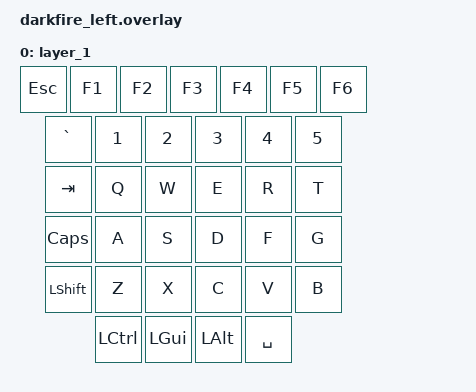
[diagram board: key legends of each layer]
#include "darkfire.dtsi"

/ {
    keymap {
        compatible = "zmk,keymap";

        layer_1 {
            bindings = <
         // 0     0,0      0, 1    0,2       0,3    0, 4     0,5    0,6 
                &kp ESCAPE  &kp F1  &kp F2  &kp F3  &kp F4  &kp F5  &kp F6
                //  1,0          1       2      3      4       5 
                &kp GRAVE  &kp N1  &kp N2  &kp N3  &kp N4  &kp N5
                //  2,0        1      2   3    4        5 
                &kp TAB  &kp Q  &kp W  &kp E  &kp R  &kp T 
                //  3,0     1       2       3     4     5 
                &kp CAPS  &kp A  &kp S  &kp D  &kp F  &kp G 
                //  4,0      1      2       3     4     5 
                &kp LSHIFT  &kp Z  &kp X  &kp C  &kp V  &kp B 
                //  5,0         1         2         3 
                &kp LCTRL  &kp LGUI  &kp LALT  &kp SPACE
            >;
        };
    };
    default_transform: keymap_transform_0 { 
        // col-offset = <6>;
        map = <
                    RC(0,1) RC(0,2) RC(0,3) RC(0,4) RC(0,5) RC(0,6) RC(0,7) RC(0,8) RC(0,9)
            RC(1,0) RC(1,1) RC(1,2) RC(1,3) RC(1,4) RC(1,5) RC(1,6) RC(1,7) RC(1,8)
            RC(2,0) RC(2,1) RC(2,2) RC(2,3) RC(2,4) RC(2,5) RC(2,6) RC(2,7) RC(2,8)
            RC(3,0) RC(3,1) RC(3,2) RC(3,3) RC(3,4) RC(3,5) RC(3,6) RC(3,7)
            RC(4,0) RC(4,1) RC(4,2) RC(4,3) RC(4,4) RC(4,5) RC(4,6) RC(4,7)
                RC(5,0) RC(5,1) RC(5,2) RC(5,3) RC(5,4) RC(5,5)
        >;
    };
};

&kscan0 {
    row-gpios
            = <&pro_micro 1 (GPIO_ACTIVE_HIGH | GPIO_PULL_DOWN)> 
            , <&pro_micro 0 (GPIO_ACTIVE_HIGH | GPIO_PULL_DOWN)> 
            , <&pro_micro 2 (GPIO_ACTIVE_HIGH | GPIO_PULL_DOWN)> 
            , <&pro_micro 3 (GPIO_ACTIVE_HIGH | GPIO_PULL_DOWN)> 
            , <&pro_micro 4 (GPIO_ACTIVE_HIGH | GPIO_PULL_DOWN)>
            , <&pro_micro 21 (GPIO_ACTIVE_HIGH | GPIO_PULL_DOWN)>
            ;
    col-gpios
        = <&pro_micro 5 GPIO_ACTIVE_HIGH>
        , <&pro_micro 6 GPIO_ACTIVE_HIGH>
        , <&pro_micro 7 GPIO_ACTIVE_HIGH>
        , <&pro_micro 8 GPIO_ACTIVE_HIGH>
        , <&pro_micro 9 GPIO_ACTIVE_HIGH>
        , <&pro_micro 10 GPIO_ACTIVE_HIGH>
        , <&pro_micro 16 GPIO_ACTIVE_HIGH>
        ;
};

// rows: 
// 0 -> 1
// 1 -> 0
// 2 -> 2
// 3 -> 3
// 4 -> 4
// 5 -> 21
// 
// cols:
// 0 -> 5
// 1 -> 6
// 2 -> 7
// 3 -> 8
// 4 -> 9
// 5 -> 10
// 6 -> 16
